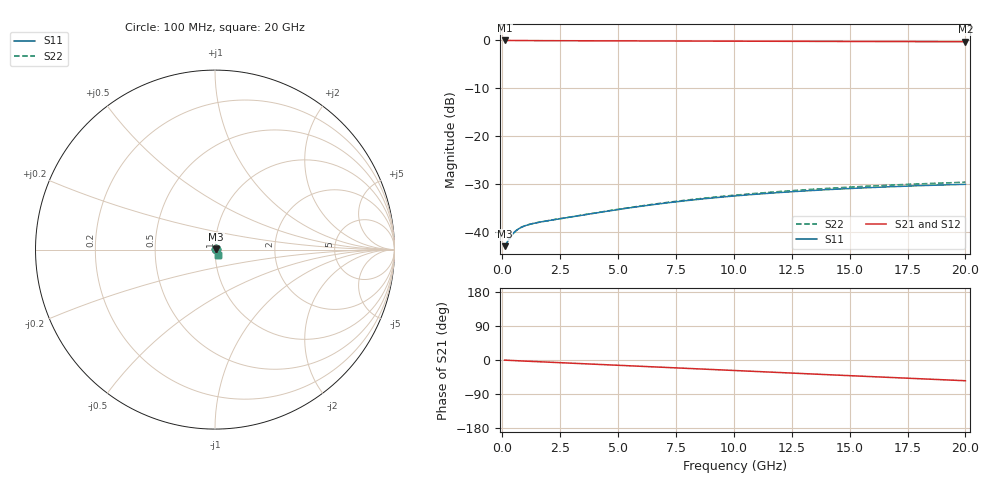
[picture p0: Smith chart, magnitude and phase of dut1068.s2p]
! Touchstone file exported from HFSS 2026.1.0
!  File:  C:/ffzhzh/LocalFiles/Ansys_Project_Files/temp_train_BSMRDL_1068_1783174234_55132.aedt
!  Generated:  10:11:59 PM Jul  4, 2026
!  Design:  BSMRDL
!  Project:  temp_train_BSMRDL_1068_1783174234_55132
! Variables:
!  h_bsmrdl = 3.21um
!  h_ox = 20um
!  h_rdl = 5um
!  h_sub = 80um
!  h_tmrdl = 5um
!  h_tsv = 80um
!  h_via = 3um
!  l_bsmrdl = 991.92um
!  l_sub = 1391.92um
!  l_tmrdl = 200um
!  m_sub = 200um
!  pitch = 19.24um
!  r_tsv = 6um
!  s_tmrdl = 10um
!  w_bsmrdl = 16.07um
!  w_sub = 500um
!  w_tmrdl = 12um
!  x_tsv_center1 = 206um
!  x_tsv_center2 = 1213.99um
!  x_tsv_center3 = 1425.99um
!  x_tsv_center4 = 2433.98um
!  x_tsv_center5 = 2645.98um
!  x_tsv_center6 = 3653.97um
# GHz S MA R 50.000000
! Terminal data exported
! Port[1] = BSM_RDL1_1_T1
! Port[2] = BSM_RDL1_1_T2
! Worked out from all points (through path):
!   200 points, 100 MHz to 20 GHz, reference 50 ohm
!   highest |S21| = -0.06 dB at 100 MHz (marker M1); lowest = -0.3 dB at 20 GHz (marker M2)
!   group delay of S21, straight-line fit = 7.57 ps
!   lowest |S11| = -43.0 dB at 100 MHz (marker M3), VSWR 1.01, Z = 50.7 + j0.102 ohm
!   |S11| at or under -10 dB: start of sweep to end of sweep
!   |S22| runs from -43.0 to -29.7 dB; largest |S21 - S12| = 3.1e-15
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0.1  0.00705 8.2  0.993 -0.3  0.993 -0.3  0.00705 8.2
! Gamma 0 0 0 0
! Port Impedance 50 0 50 0
0.2  0.007651 14.1  0.9926 -0.7  0.9926 -0.7  0.007652 14.1
0.3  0.008394 17.2  0.992 -1.0  0.992 -1.0  0.008394 17.2
0.4  0.009115 18.3  0.9914 -1.3  0.9914 -1.3  0.009116 18.3
0.5  0.009742 18.4  0.9908 -1.6  0.9908 -1.6  0.009743 18.4
0.6  0.01026 18.0  0.9903 -1.9  0.9903 -1.9  0.01026 18.0
0.7  0.01069 17.4  0.9899 -2.1  0.9899 -2.1  0.01069 17.4
0.8  0.01103 16.7  0.9896 -2.4  0.9896 -2.4  0.01104 16.7
0.9  0.01132 16.1  0.9893 -2.7  0.9893 -2.7  0.01133 16.1
1.2  0.01196 14.6  0.9886 -3.5  0.9886 -3.5  0.01196 14.5
1.6  0.01255 13.3  0.988 -4.6  0.988 -4.6  0.01256 13.2
3.5  0.01493 10.2  0.9859 -9.9  0.9859 -9.9  0.01498 10.1
5.3  0.01744 5.5  0.9834 -14.9  0.9834 -14.9  0.01756 5.3
6.8  0.01954 -0.2  0.981 -19.1  0.981 -19.1  0.01974 -0.5
8.4  0.02165 -7.3  0.9784 -23.5  0.9784 -23.5  0.02195 -7.6
10.1  0.02366 -15.4  0.9757 -28.1  0.9757 -28.1  0.02411 -15.8
11.7  0.02534 -23.2  0.9732 -32.4  0.9732 -32.4  0.02594 -23.6
13.4  0.02692 -31.6  0.9707 -37.0  0.9707 -37.0  0.0277 -31.9
15.1  0.02828 -39.8  0.9684 -41.6  0.9684 -41.6  0.02926 -40.0
16.7  0.0294 -47.4  0.9664 -45.9  0.9664 -45.9  0.03058 -47.5
18.4  0.03042 -55.3  0.9643 -50.4  0.9643 -50.4  0.03182 -55.3
20  0.03122 -62.5  0.9625 -54.7  0.9625 -54.7  0.03284 -62.3
